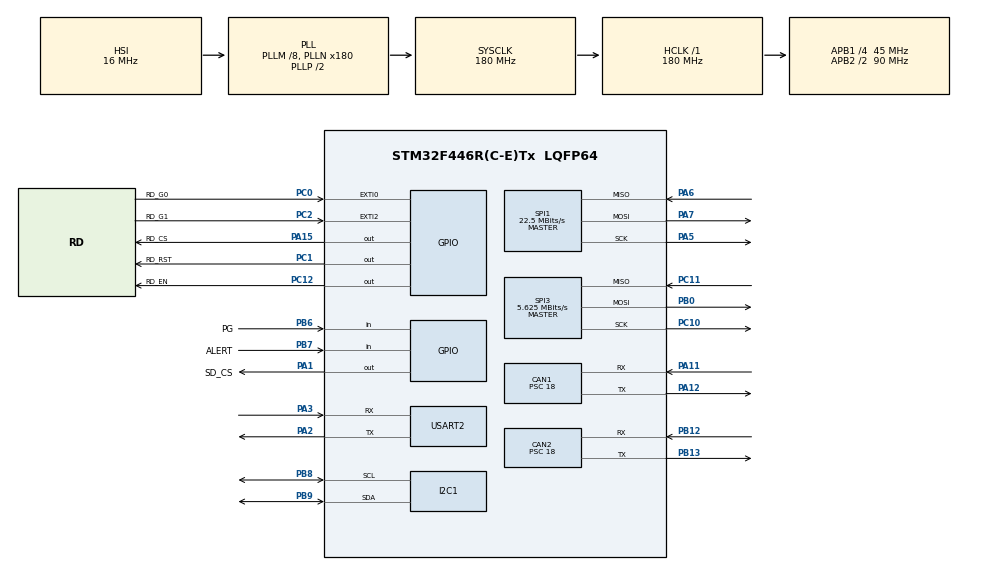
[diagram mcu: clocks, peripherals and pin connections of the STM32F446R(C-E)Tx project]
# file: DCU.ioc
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CAN1.BS1=CAN_BS1_3TQ
CAN1.CalculateBaudRate=500000
CAN1.CalculateTimeBit=2000
CAN1.CalculateTimeQuantum=400.0
CAN1.Mode=CAN_MODE_NORMAL
CAN1.Prescaler=18
CAN2.BS1=CAN_BS1_3TQ
CAN2.CalculateBaudRate=500000
CAN2.CalculateTimeBit=2000
CAN2.CalculateTimeQuantum=400.0
CAN2.Mode=CAN_MODE_NORMAL
CAN2.Prescaler=18
Dma.Request0=USART2_RX
Dma.Request1=USART2_TX
Dma.Request2=SPI1_TX
Dma.Request3=SPI1_RX
Dma.Request4=SPI3_TX
Dma.Request5=SPI3_RX
Dma.SPI1_RX.3.Direction=DMA_PERIPH_TO_MEMORY
Dma.SPI1_RX.3.FIFOMode=DMA_FIFOMODE_DISABLE
Dma.SPI1_RX.3.Instance=DMA2_Stream0
Dma.SPI1_RX.3.MemDataAlignment=DMA_MDATAALIGN_BYTE
Dma.SPI1_RX.3.MemInc=DMA_MINC_ENABLE
Dma.SPI1_RX.3.Mode=DMA_NORMAL
Dma.SPI1_RX.3.PeriphDataAlignment=DMA_PDATAALIGN_BYTE
Dma.SPI1_RX.3.PeriphInc=DMA_PINC_DISABLE
Dma.SPI1_RX.3.Priority=DMA_PRIORITY_LOW
Dma.SPI1_TX.2.Direction=DMA_MEMORY_TO_PERIPH
Dma.SPI1_TX.2.FIFOMode=DMA_FIFOMODE_DISABLE
Dma.SPI1_TX.2.Instance=DMA2_Stream3
Dma.SPI1_TX.2.MemDataAlignment=DMA_MDATAALIGN_BYTE
Dma.SPI1_TX.2.MemInc=DMA_MINC_ENABLE
Dma.SPI1_TX.2.Mode=DMA_NORMAL
Dma.SPI1_TX.2.PeriphDataAlignment=DMA_PDATAALIGN_BYTE
Dma.SPI1_TX.2.PeriphInc=DMA_PINC_DISABLE
Dma.SPI1_TX.2.Priority=DMA_PRIORITY_LOW
Dma.SPI3_RX.5.Direction=DMA_PERIPH_TO_MEMORY
Dma.SPI3_RX.5.FIFOMode=DMA_FIFOMODE_DISABLE
Dma.SPI3_RX.5.Instance=DMA1_Stream0
Dma.SPI3_RX.5.MemDataAlignment=DMA_MDATAALIGN_BYTE
Dma.SPI3_RX.5.MemInc=DMA_MINC_ENABLE
Dma.SPI3_RX.5.Mode=DMA_NORMAL
Dma.SPI3_RX.5.PeriphDataAlignment=DMA_PDATAALIGN_BYTE
Dma.SPI3_RX.5.PeriphInc=DMA_PINC_DISABLE
Dma.SPI3_RX.5.Priority=DMA_PRIORITY_LOW
Dma.SPI3_TX.4.Direction=DMA_MEMORY_TO_PERIPH
Dma.SPI3_TX.4.FIFOMode=DMA_FIFOMODE_DISABLE
Dma.SPI3_TX.4.Instance=DMA1_Stream7
Dma.SPI3_TX.4.MemDataAlignment=DMA_MDATAALIGN_BYTE
Dma.SPI3_TX.4.MemInc=DMA_MINC_ENABLE
Dma.SPI3_TX.4.Mode=DMA_NORMAL
Dma.SPI3_TX.4.PeriphDataAlignment=DMA_PDATAALIGN_BYTE
Dma.SPI3_TX.4.PeriphInc=DMA_PINC_DISABLE
Dma.SPI3_TX.4.Priority=DMA_PRIORITY_LOW
Dma.USART2_RX.0.Direction=DMA_PERIPH_TO_MEMORY
Dma.USART2_RX.0.FIFOMode=DMA_FIFOMODE_DISABLE
Dma.USART2_RX.0.Instance=DMA1_Stream5
Dma.USART2_RX.0.MemDataAlignment=DMA_MDATAALIGN_BYTE
Dma.USART2_RX.0.MemInc=DMA_MINC_ENABLE
Dma.USART2_RX.0.Mode=DMA_CIRCULAR
Dma.USART2_RX.0.PeriphDataAlignment=DMA_PDATAALIGN_BYTE
Dma.USART2_RX.0.PeriphInc=DMA_PINC_DISABLE
Dma.USART2_RX.0.Priority=DMA_PRIORITY_LOW
Dma.USART2_TX.1.Direction=DMA_MEMORY_TO_PERIPH
Dma.USART2_TX.1.FIFOMode=DMA_FIFOMODE_DISABLE
Dma.USART2_TX.1.Instance=DMA1_Stream6
Dma.USART2_TX.1.MemDataAlignment=DMA_MDATAALIGN_BYTE
Dma.USART2_TX.1.MemInc=DMA_MINC_ENABLE
Dma.USART2_TX.1.Mode=DMA_NORMAL
Dma.USART2_TX.1.PeriphDataAlignment=DMA_PDATAALIGN_BYTE
Dma.USART2_TX.1.PeriphInc=DMA_PINC_DISABLE
Dma.USART2_TX.1.Priority=DMA_PRIORITY_LOW
FREERTOS.CountingSemaphores01=uartTxSem,1,Dynamic,NULL,0;canTxMailboxSem,3,Dynamic,NULL,3
FREERTOS.Events01=radioEvents,Dynamic,NULL
FREERTOS.Mutexes01=spiMutex,osMutexPrioInherit,spiMutexCtrlBlock,NULL;uartTxMutex,Dynamic,NULL,Available;logMutex,Dynamic,NULL,Available;canTxMutex,Dynamic,NULL,Available;canRxMutex,Dynamic,NULL,Available
FREERTOS.Queues01=rxDataQueue,4,64,NULL,Dynamic,NULL,NULL;uartRxQueue,8,FEB_UART_RxQueueMsg_t,0,Dynamic,NULL,NULL;sdRequestQueue,4,4,0,Dynamic,NULL,NULL;canTxQueue,32,FEB_CAN_Message_t,0,Dynamic,NULL,NULL;canRxQueue,128,FEB_CAN_Message_t,0,Dynamic,NULL,NULL;canLogQueue,256,DCU_CAN_Frame_t,0,Dynamic,NULL,NULL
FREERTOS.Tasks01=uartRxTask,24,512,StartUartRxTask,As weak,NULL,Dynamic,NULL,NULL;radioTask,40,512,RadioTask,Default,NULL,Dynamic,NULL,NULL;sdTask,16,1024,StartSdTask,As weak,NULL,Dynamic,NULL,NULL;canDispatchTask,32,256,StartCanDispatchTask,As weak,NULL,Dynamic,NULL,NULL;canLogTask,16,1024,StartCanLogTask,As weak,NULL,Dynamic,NULL,NULL
FREERTOS.Timers01=rxTimeoutTimer,rxTimeoutCallback,osTimerOnce,NULL,NULL,NULL
FREERTOS.configENABLE_FPU=1
FREERTOS.configTOTAL_HEAP_SIZE=65536
FREERTOS.configUSE_TIMERS=1
Mcu.Family=STM32F4
Mcu.Name=STM32F446R(C-E)Tx
Mcu.Package=LQFP64
NVIC.CAN1_RX0_IRQn=true\:5\:0\:false\:false\:true\:true\:true\:true\:true
NVIC.CAN1_RX1_IRQn=true\:5\:0\:false\:false\:true\:true\:true\:true\:true
NVIC.CAN1_SCE_IRQn=true\:5\:0\:false\:false\:true\:true\:true\:true\:true
NVIC.CAN1_TX_IRQn=true\:5\:0\:false\:false\:true\:true\:true\:true\:true
NVIC.CAN2_RX0_IRQn=true\:5\:0\:false\:false\:true\:true\:true\:true\:true
NVIC.CAN2_RX1_IRQn=true\:5\:0\:false\:false\:true\:true\:true\:true\:true
NVIC.CAN2_SCE_IRQn=true\:5\:0\:false\:false\:true\:true\:true\:true\:true
NVIC.CAN2_TX_IRQn=true\:5\:0\:false\:false\:true\:true\:true\:true\:true
NVIC.DMA1_Stream0_IRQn=true\:5\:0\:false\:false\:true\:true\:false\:true\:true
NVIC.DMA1_Stream5_IRQn=true\:5\:0\:false\:false\:true\:true\:false\:true\:true
NVIC.DMA1_Stream6_IRQn=true\:5\:0\:false\:false\:true\:true\:false\:true\:true
NVIC.DMA1_Stream7_IRQn=true\:5\:0\:false\:false\:true\:true\:false\:true\:true
NVIC.DMA2_Stream0_IRQn=true\:5\:0\:false\:false\:true\:true\:false\:true\:true
NVIC.DMA2_Stream3_IRQn=true\:5\:0\:false\:false\:true\:true\:false\:true\:true
NVIC.EXTI0_IRQn=true\:5\:0\:false\:false\:true\:true\:true\:true\:true
NVIC.EXTI2_IRQn=true\:5\:0\:false\:false\:true\:true\:true\:true\:true
NVIC.PriorityGroup=NVIC_PRIORITYGROUP_4
NVIC.SPI1_IRQn=true\:5\:0\:false\:false\:true\:true\:true\:true\:true
NVIC.SPI3_IRQn=true\:5\:0\:false\:false\:true\:true\:true\:true\:true
NVIC.TIM8_TRG_COM_TIM14_IRQn=true\:15\:0\:false\:false\:true\:false\:false\:true\:true
NVIC.TimeBase=TIM8_TRG_COM_TIM14_IRQn
NVIC.TimeBaseIP=TIM14
NVIC.USART2_IRQn=true\:5\:0\:false\:false\:true\:true\:true\:true\:true
PA1.GPIO_Label=SD_CS
PA1.PinState=GPIO_PIN_SET
PA1.Signal=GPIO_Output
PA11.Mode=CAN_Activate
PA11.Signal=CAN1_RX
PA12.Mode=CAN_Activate
PA12.Signal=CAN1_TX
PA13.Mode=Serial_Wire
PA13.Signal=SYS_JTMS-SWDIO
PA14.Mode=Serial_Wire
PA14.Signal=SYS_JTCK-SWCLK
PA15.GPIO_Label=RD_CS
PA15.PinState=GPIO_PIN_SET
PA15.Signal=GPIO_Output
PA2.Mode=Asynchronous
PA2.Signal=USART2_TX
PA3.Mode=Asynchronous
PA3.Signal=USART2_RX
PA5.Mode=Full_Duplex_Master
PA5.Signal=SPI1_SCK
PA6.GPIO_PuPd=GPIO_PULLUP
PA6.Mode=Full_Duplex_Master
PA6.Signal=SPI1_MISO
PA7.Mode=Full_Duplex_Master
PA7.Signal=SPI1_MOSI
PB0.Mode=Full_Duplex_Master
PB0.Signal=SPI3_MOSI
PB12.Mode=CAN_Activate
PB12.Signal=CAN2_RX
PB13.Mode=CAN_Activate
PB13.Signal=CAN2_TX
PB6.GPIO_Label=PG
PB6.Signal=GPIO_Input
PB7.GPIO_Label=ALERT
PB7.Signal=GPIO_Input
PB8.Mode=I2C
PB8.Signal=I2C1_SCL
PB9.Mode=I2C
PB9.Signal=I2C1_SDA
PC0.GPIO_Label=RD_G0
PC0.GPIO_ModeDefaultEXTI=GPIO_MODE_IT_RISING
PC0.Signal=GPXTI0
PC1.GPIO_Label=RD_RST
PC1.Signal=GPIO_Output
PC10.Mode=Full_Duplex_Master
PC10.Signal=SPI3_SCK
PC11.Mode=Full_Duplex_Master
PC11.Signal=SPI3_MISO
PC12.GPIO_Label=RD_EN
PC12.Signal=GPIO_Output
PC2.GPIO_Label=RD_G1
PC2.GPIO_ModeDefaultEXTI=GPIO_MODE_IT_RISING
PC2.Signal=GPXTI2
PH0-OSC_IN.Mode=HSE-External-Oscillator
PH0-OSC_IN.Signal=RCC_OSC_IN
PH1-OSC_OUT.Mode=HSE-External-Oscillator
PH1-OSC_OUT.Signal=RCC_OSC_OUT
ProjectManager.HeapSize=0x200
ProjectManager.StackSize=0x400
ProjectManager.TargetToolchain=CMake
RCC.AHBFreq_Value=180000000
RCC.APB1CLKDivider=RCC_HCLK_DIV4
RCC.APB1Freq_Value=45000000
RCC.APB1TimFreq_Value=90000000
RCC.APB2CLKDivider=RCC_HCLK_DIV2
RCC.APB2Freq_Value=90000000
RCC.APB2TimFreq_Value=180000000
RCC.CortexFreq_Value=180000000
RCC.HCLKFreq_Value=180000000
RCC.HSE_VALUE=8000000
RCC.PLLM=8
RCC.PLLN=180
RCC.SYSCLKFreq_VALUE=180000000
RCC.SYSCLKSource=RCC_SYSCLKSOURCE_PLLCLK
RCC.USBFreq_Value=180000000
RCC.VCOOutputFreq_Value=360000000
SPI1.BaudRatePrescaler=SPI_BAUDRATEPRESCALER_4
SPI1.CalculateBaudRate=22.5 MBits/s
SPI1.Direction=SPI_DIRECTION_2LINES
SPI1.Mode=SPI_MODE_MASTER
SPI1.VirtualType=VM_MASTER
SPI3.BaudRatePrescaler=SPI_BAUDRATEPRESCALER_8
SPI3.CalculateBaudRate=5.625 MBits/s
SPI3.Direction=SPI_DIRECTION_2LINES
SPI3.Mode=SPI_MODE_MASTER
SPI3.VirtualType=VM_MASTER
USART2.VirtualMode=VM_ASYNC
VP_FATFS_VS_Generic.Mode=User_defined
VP_FREERTOS_VS_CMSIS_V2.Mode=CMSIS_V2
VP_SYS_VS_tim14.Mode=TIM14
board=custom

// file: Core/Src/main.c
/* USER CODE BEGIN Header */
/**
  ******************************************************************************
  * @file           : main.c
  * @brief          : Main program body
  ******************************************************************************
  * @attention
  *
  * Copyright (c) 2026 STMicroelectronics.
  * All rights reserved.
  *
  * This software is licensed under terms that can be found in the LICENSE file
  * in the root directory of this software component.
  * If no LICENSE file comes with this software, it is provided AS-IS.
  *
  ******************************************************************************
  */
/* USER CODE END Header */
#include "main.h"
#include "cmsis_os.h"
#include "can.h"
#include "dma.h"
#include "fatfs.h"
#include "i2c.h"
#include "spi.h"
#include "usart.h"
#include "gpio.h"

/* USER CODE BEGIN Includes */
#include "feb_can_lib.h"
#include "feb_uart.h"
/* USER CODE END Includes */

void SystemClock_Config(void);
void MX_FREERTOS_Init(void);

int main(void)
{

  /* MCU Configuration--------------------------------------------------------*/

  /* Reset of all peripherals, Initializes the Flash interface and the Systick. */
  HAL_Init();

  /* Configure the system clock */
  SystemClock_Config();

  /* Initialize all configured peripherals */
  MX_GPIO_Init();
  MX_DMA_Init();
  MX_USART2_UART_Init();
  MX_CAN1_Init();
  MX_CAN2_Init();
  MX_I2C1_Init();
  MX_SPI1_Init();
  MX_SPI3_Init();
  MX_FATFS_Init();

  /* Init scheduler */
  osKernelInitialize();  /* Call init function for freertos objects (in cmsis_os2.c) */
  MX_FREERTOS_Init();

  /* Start scheduler */
  osKernelStart();

  /* We should never get here as control is now taken by the scheduler */

  /* Infinite loop */
  while (1)
  {

  }
}

void SystemClock_Config(void)
{
  RCC_OscInitTypeDef RCC_OscInitStruct = {0};
  RCC_ClkInitTypeDef RCC_ClkInitStruct = {0};

  /** Configure the main internal regulator output voltage
  */
  __HAL_RCC_PWR_CLK_ENABLE();
  __HAL_PWR_VOLTAGESCALING_CONFIG(PWR_REGULATOR_VOLTAGE_SCALE1);

  /** Initializes the RCC Oscillators according to the specified parameters
  * in the RCC_OscInitTypeDef structure.
  */
  RCC_OscInitStruct.OscillatorType = RCC_OSCILLATORTYPE_HSI;
  RCC_OscInitStruct.HSIState = RCC_HSI_ON;
  RCC_OscInitStruct.HSICalibrationValue = RCC_HSICALIBRATION_DEFAULT;
  RCC_OscInitStruct.PLL.PLLState = RCC_PLL_ON;
  RCC_OscInitStruct.PLL.PLLSource = RCC_PLLSOURCE_HSI;
  RCC_OscInitStruct.PLL.PLLM = 8;
  RCC_OscInitStruct.PLL.PLLN = 180;
  RCC_OscInitStruct.PLL.PLLP = RCC_PLLP_DIV2;
  RCC_OscInitStruct.PLL.PLLQ = 2;
  RCC_OscInitStruct.PLL.PLLR = 2;
  if (HAL_RCC_OscConfig(&RCC_OscInitStruct) != HAL_OK)
  {
    Error_Handler();
  }

  /** Activate the Over-Drive mode
  */
  if (HAL_PWREx_EnableOverDrive() != HAL_OK)
  {
    Error_Handler();
  }

  /** Initializes the CPU, AHB and APB buses clocks
  */
  RCC_ClkInitStruct.ClockType = RCC_CLOCKTYPE_HCLK|RCC_CLOCKTYPE_SYSCLK
                              |RCC_CLOCKTYPE_PCLK1|RCC_CLOCKTYPE_PCLK2;
  RCC_ClkInitStruct.SYSCLKSource = RCC_SYSCLKSOURCE_PLLCLK;
  RCC_ClkInitStruct.AHBCLKDivider = RCC_SYSCLK_DIV1;
  RCC_ClkInitStruct.APB1CLKDivider = RCC_HCLK_DIV4;
  RCC_ClkInitStruct.APB2CLKDivider = RCC_HCLK_DIV2;

  if (HAL_RCC_ClockConfig(&RCC_ClkInitStruct, FLASH_LATENCY_5) != HAL_OK)
  {
    Error_Handler();
  }
}

/* USER CODE BEGIN 4 */
/* CAN HAL callbacks (HAL_CAN_RxFifo*MsgPendingCallback, HAL_CAN_TxMailbox*Complete,
 * HAL_CAN_ErrorCallback) are now provided directly by the feb_can library —
 * see common/FEB_CAN_Library/Src/feb_can.c. Bridging them here would cause
 * multiple-definition link errors. */

/* UART Callbacks - route to FEB UART Library */
void HAL_UART_TxCpltCallback(UART_HandleTypeDef *huart)
{
  FEB_UART_TxCpltCallback(huart);
}

void HAL_UARTEx_RxEventCallback(UART_HandleTypeDef *huart, uint16_t Size)
{
  FEB_UART_RxEventCallback(huart, Size);
}
/* USER CODE END 4 */

void HAL_TIM_PeriodElapsedCallback(TIM_HandleTypeDef *htim)
{
  if (htim->Instance == TIM14)
  {
    HAL_IncTick();
  }
}

void Error_Handler(void)
{
  __disable_irq();
  while (1)
  {
  }
}

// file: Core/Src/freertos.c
/* USER CODE BEGIN Header */
/**
  ******************************************************************************
  * File Name          : freertos.c
  * Description        : Code for freertos applications
  ******************************************************************************
  * @attention
  *
  * Copyright (c) 2026 STMicroelectronics.
  * All rights reserved.
  *
  * This software is licensed under terms that can be found in the LICENSE file
  * in the root directory of this software component.
  * If no LICENSE file comes with this software, it is provided AS-IS.
  *
  ******************************************************************************
  */
/* USER CODE END Header */

#include "FreeRTOS.h"
#include "task.h"
#include "main.h"
#include "cmsis_os.h"

/* USER CODE BEGIN Includes */
#include "FEB_Task_Radio.h"
#include "feb_rtos_utils.h"
#include "feb_uart.h"
#include "feb_can_lib.h"
#include "FEB_Main.h"
#include "DCU_SD.h"
#include "DCU_CAN_Log.h"
/* USER CODE END Includes */

typedef StaticSemaphore_t osStaticMutexDef_t;

/* Definitions for uartRxTask */
osThreadId_t uartRxTaskHandle;
const osThreadAttr_t uartRxTask_attributes = {
  .name = "uartRxTask",
  .stack_size = 512 * 4,
  .priority = (osPriority_t) osPriorityNormal,
};
/* Definitions for radioTask */
osThreadId_t radioTaskHandle;
const osThreadAttr_t radioTask_attributes = {
  .name = "radioTask",
  .stack_size = 512 * 4,
  .priority = (osPriority_t) osPriorityHigh,
};
/* Definitions for sdTask */
osThreadId_t sdTaskHandle;
const osThreadAttr_t sdTask_attributes = {
  .name = "sdTask",
  .stack_size = 1024 * 4,
  .priority = (osPriority_t) osPriorityBelowNormal,
};
/* Definitions for canDispatchTask */
osThreadId_t canDispatchTaskHandle;
const osThreadAttr_t canDispatchTask_attributes = {
  .name = "canDispatchTask",
  .stack_size = 256 * 4,
  .priority = (osPriority_t) osPriorityAboveNormal,
};
/* Definitions for canLogTask */
osThreadId_t canLogTaskHandle;
const osThreadAttr_t canLogTask_attributes = {
  .name = "canLogTask",
  .stack_size = 1024 * 4,
  .priority = (osPriority_t) osPriorityBelowNormal,
};
/* Definitions for rxDataQueue */
osMessageQueueId_t rxDataQueueHandle;
const osMessageQueueAttr_t rxDataQueue_attributes = {
  .name = "rxDataQueue"
};
/* Definitions for uartRxQueue */
osMessageQueueId_t uartRxQueueHandle;
const osMessageQueueAttr_t uartRxQueue_attributes = {
  .name = "uartRxQueue"
};
/* Definitions for sdRequestQueue */
osMessageQueueId_t sdRequestQueueHandle;
const osMessageQueueAttr_t sdRequestQueue_attributes = {
  .name = "sdRequestQueue"
};
/* Definitions for canTxQueue */
osMessageQueueId_t canTxQueueHandle;
const osMessageQueueAttr_t canTxQueue_attributes = {
  .name = "canTxQueue"
};
/* Definitions for canRxQueue */
osMessageQueueId_t canRxQueueHandle;
const osMessageQueueAttr_t canRxQueue_attributes = {
  .name = "canRxQueue"
};
/* Definitions for canLogQueue */
osMessageQueueId_t canLogQueueHandle;
const osMessageQueueAttr_t canLogQueue_attributes = {
  .name = "canLogQueue"
};
/* Definitions for rxTimeoutTimer */
osTimerId_t rxTimeoutTimerHandle;
const osTimerAttr_t rxTimeoutTimer_attributes = {
  .name = "rxTimeoutTimer"
};
/* Definitions for spiMutex */
osMutexId_t spiMutexHandle;
osStaticMutexDef_t spiMutexCtrlBlock;
const osMutexAttr_t spiMutex_attributes = {
  .name = "spiMutex",
  .cb_mem = &spiMutexCtrlBlock,
  .cb_size = sizeof(spiMutexCtrlBlock),
};
/* Definitions for uartTxMutex */
osMutexId_t uartTxMutexHandle;
const osMutexAttr_t uartTxMutex_attributes = {
  .name = "uartTxMutex"
};
/* Definitions for logMutex */
osMutexId_t logMutexHandle;
const osMutexAttr_t logMutex_attributes = {
  .name = "logMutex"
};
/* Definitions for canTxMutex */
osMutexId_t canTxMutexHandle;
const osMutexAttr_t canTxMutex_attributes = {
  .name = "canTxMutex"
};
/* Definitions for canRxMutex */
osMutexId_t canRxMutexHandle;
const osMutexAttr_t canRxMutex_attributes = {
  .name = "canRxMutex"
};
/* Definitions for uartTxSem */
osSemaphoreId_t uartTxSemHandle;
const osSemaphoreAttr_t uartTxSem_attributes = {
  .name = "uartTxSem"
};
/* Definitions for canTxMailboxSem */
osSemaphoreId_t canTxMailboxSemHandle;
const osSemaphoreAttr_t canTxMailboxSem_attributes = {
  .name = "canTxMailboxSem"
};
/* Definitions for radioEvents */
osEventFlagsId_t radioEventsHandle;
const osEventFlagsAttr_t radioEvents_attributes = {
  .name = "radioEvents"
};

void StartUartRxTask(void *argument);
void RadioTask(void *argument);
void StartSdTask(void *argument);
void StartCanDispatchTask(void *argument);
void StartCanLogTask(void *argument);
void rxTimeoutCallback(void *argument);

void MX_FREERTOS_Init(void); /* (MISRA C 2004 rule 8.1) */

void MX_FREERTOS_Init(void) {
  /* Create the mutex(es) */
  /* creation of spiMutex */
  spiMutexHandle = osMutexNew(&spiMutex_attributes);

  /* creation of uartTxMutex */
  uartTxMutexHandle = osMutexNew(&uartTxMutex_attributes);

  /* creation of logMutex */
  logMutexHandle = osMutexNew(&logMutex_attributes);

  /* creation of canTxMutex */
  canTxMutexHandle = osMutexNew(&canTxMutex_attributes);

  /* creation of canRxMutex */
  canRxMutexHandle = osMutexNew(&canRxMutex_attributes);

  /* Create the semaphores(s) */
  /* creation of uartTxSem */
  uartTxSemHandle = osSemaphoreNew(1, 0, &uartTxSem_attributes);

  /* creation of canTxMailboxSem */
  canTxMailboxSemHandle = osSemaphoreNew(3, 3, &canTxMailboxSem_attributes);

  /* Create the timer(s) */
  /* creation of rxTimeoutTimer */
  rxTimeoutTimerHandle = osTimerNew(rxTimeoutCallback, osTimerOnce, NULL, &rxTimeoutTimer_attributes);

  /* Create the queue(s) */
  /* creation of rxDataQueue */
  rxDataQueueHandle = osMessageQueueNew (4, 64, &rxDataQueue_attributes);

  /* creation of uartRxQueue */
  uartRxQueueHandle = osMessageQueueNew (8, sizeof(FEB_UART_RxQueueMsg_t), &uartRxQueue_attributes);

  /* creation of sdRequestQueue */
  sdRequestQueueHandle = osMessageQueueNew (4, 4, &sdRequestQueue_attributes);

  /* creation of canTxQueue */
  canTxQueueHandle = osMessageQueueNew (32, sizeof(FEB_CAN_Message_t), &canTxQueue_attributes);

  /* creation of canRxQueue */
  canRxQueueHandle = osMessageQueueNew (128, sizeof(FEB_CAN_Message_t), &canRxQueue_attributes);

  /* creation of canLogQueue */
  canLogQueueHandle = osMessageQueueNew (256, sizeof(DCU_CAN_Frame_t), &canLogQueue_attributes);

  /* Create the thread(s) */
  /* creation of uartRxTask */
  uartRxTaskHandle = osThreadNew(StartUartRxTask, NULL, &uartRxTask_attributes);

  /* creation of radioTask */
  radioTaskHandle = osThreadNew(RadioTask, NULL, &radioTask_attributes);

  /* creation of sdTask */
  sdTaskHandle = osThreadNew(StartSdTask, NULL, &sdTask_attributes);

  /* creation of canDispatchTask */
  canDispatchTaskHandle = osThreadNew(StartCanDispatchTask, NULL, &canDispatchTask_attributes);

  /* creation of canLogTask */
  canLogTaskHandle = osThreadNew(StartCanLogTask, NULL, &canLogTask_attributes);

  /* USER CODE BEGIN RTOS_THREADS */
  REQUIRE_RTOS_HANDLE(spiMutexHandle);
  REQUIRE_RTOS_HANDLE(uartTxMutexHandle);
  REQUIRE_RTOS_HANDLE(logMutexHandle);
  REQUIRE_RTOS_HANDLE(uartTxSemHandle);
  REQUIRE_RTOS_HANDLE(uartRxQueueHandle);
  REQUIRE_RTOS_HANDLE(rxTimeoutTimerHandle);
  REQUIRE_RTOS_HANDLE(rxDataQueueHandle);
  REQUIRE_RTOS_HANDLE(uartRxTaskHandle);
  REQUIRE_RTOS_HANDLE(radioTaskHandle);
  REQUIRE_RTOS_HANDLE(sdTaskHandle);
  REQUIRE_RTOS_HANDLE(sdRequestQueueHandle);
  REQUIRE_RTOS_HANDLE(canTxMutexHandle);
  REQUIRE_RTOS_HANDLE(canRxMutexHandle);
  REQUIRE_RTOS_HANDLE(canTxMailboxSemHandle);
  REQUIRE_RTOS_HANDLE(canTxQueueHandle);
  REQUIRE_RTOS_HANDLE(canRxQueueHandle);
  REQUIRE_RTOS_HANDLE(canLogQueueHandle);
  REQUIRE_RTOS_HANDLE(canDispatchTaskHandle);
  REQUIRE_RTOS_HANDLE(canLogTaskHandle);
  /* USER CODE END RTOS_THREADS */

  /* creation of radioEvents */
  radioEventsHandle = osEventFlagsNew(&radioEvents_attributes);

  /* USER CODE BEGIN RTOS_EVENTS */
  REQUIRE_RTOS_HANDLE(radioEventsHandle);
  /* Initialize FEB libraries after FreeRTOS objects are created */
  FEB_Init();
  /* USER CODE END RTOS_EVENTS */

}

__weak void StartUartRxTask(void *argument)
{
  for(;;)
  {
    osDelay(1);
  }
}

void RadioTask(void *argument)
{
  /* USER CODE BEGIN RadioTask */
  StartRadioTask(argument);
  /* USER CODE END RadioTask */
}

__weak void StartSdTask(void *argument)
{
  for(;;)
  {
    osDelay(1);
  }
}

__weak void StartCanDispatchTask(void *argument)
{
  for(;;)
  {
    osDelay(1);
  }
}

__weak void StartCanLogTask(void *argument)
{
  for(;;)
  {
    osDelay(1);
  }
}

/* rxTimeoutCallback function */
void rxTimeoutCallback(void *argument)
{
  /* USER CODE BEGIN rxTimeoutCallback */
  (void)argument;
  /* Timer not used - FEB_RFM95 handles timeouts internally via osEventFlagsWait */
  /* USER CODE END rxTimeoutCallback */
}
